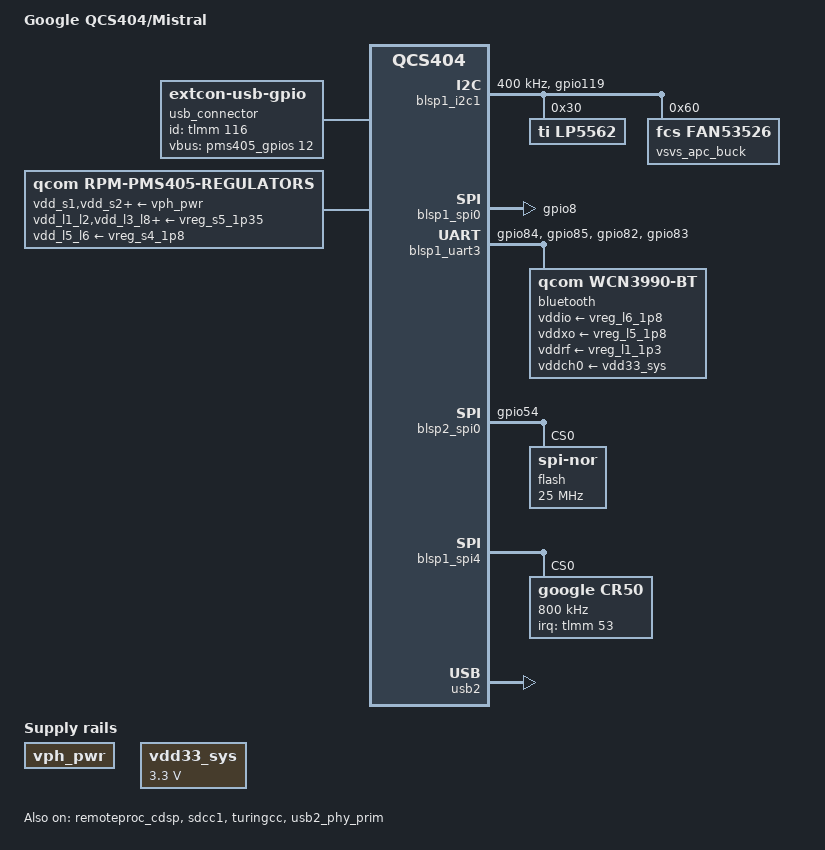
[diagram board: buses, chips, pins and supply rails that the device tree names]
// SPDX-License-Identifier: GPL-2.0
// Copyright (c) 2019, Linaro Limited

/dts-v1/;

#include "qcs404.dtsi"
#include "pms405.dtsi"
#include <dt-bindings/gpio/gpio.h>
#include <dt-bindings/pinctrl/qcom,pmic-gpio.h>

/ {
	model = "Google QCS404/Mistral";
	compatible = "google,mistral", "qcom,qcs404";

	aliases {
		serial0 = &blsp1_uart2;
		serial1 = &blsp1_uart3;
		wifi0 = &wifi;
	};

	chosen {
		stdout-path = "serial0";
	};

	vph_pwr: vph-pwr-regulator {
		compatible = "regulator-fixed";
		regulator-name = "vph_pwr";
		regulator-always-on;
		regulator-boot-on;
	};

	usb_connector: usb-connector {
		compatible = "linux,extcon-usb-gpio";
		id-gpio = <&tlmm 116 GPIO_ACTIVE_HIGH>;
		vbus-gpio = <&pms405_gpios 12 GPIO_ACTIVE_HIGH>;
		pinctrl-names = "default";
		pinctrl-0 = <&usb0_hs_id>, <&usb_vbus_det>;
	};

	vdd33_sys: vdd33-regulator {
		compatible = "regulator-fixed";
		regulator-name = "VDD33_SYS";

		regulator-min-microvolt = <3300000>;
		regulator-max-microvolt = <3300000>;
		regulator-always-on;
	};
};

&blsp1_dma {
	/delete-property/ qcom,controlled-remotely;
};

&blsp2_dma {
	/delete-property/ qcom,controlled-remotely;
};

&blsp1_i2c1 {
	status = "okay";
	clock-frequency = <400000>;
	pinctrl-0 = <&led_lp5562_enable>, <&blsp1_i2c1_default>;

	lp5562@30 {
		compatible = "ti,lp5562";
		reg = <0x30>;
		clock-mode = [01];

		chan0 {
			chan-name = "LED0_Blue";
			led-cur = [64];
			max-cur = [78];
		};

		chan1 {
			chan-name = "LED0_Green";
			led-cur = [64];
			max-cur = [78];
		};

		chan2 {
			chan-name = "LED0_Red";
			led-cur = [64];
			max-cur = [78];
		};
	};

	vsvs_apc_buck: fan53526@60 {
		compatible = "fcs,fan53526";
		reg = <0x60>;
		regulator-min-microvolt = <1048000>;
		regulator-max-microvolt = <1356250>;
		regulator-ramp-delay = <500>;
		regulator-always-on;
		fcs,suspend-voltage-selector = <1>;
		pinctrl-names = "default";
		pinctrl-0 = <&apps_buck_en>, <&apps_mode_sel>;
	};
};

&blsp1_spi0 {
	status = "okay";
	pinctrl-0 = <&blsp1_spi0_default &pms405_sleepclk2_pin>;
};

&blsp1_uart2_default {
	rx {
		drive-strength = <2>;
		bias-disable;
	};

	tx {
		drive-strength = <2>;
		bias-disable;
	};
};

&blsp1_uart3 {
	pinctrl-names = "default";
	pinctrl-0 = <&blsp1_uart3_default>;
	status = "okay";

	bluetooth {
		compatible = "qcom,wcn3990-bt";
		vddio-supply = <&vreg_l6_1p8>;
		vddxo-supply = <&vreg_l5_1p8>;
		vddrf-supply = <&vreg_l1_1p3>;
		vddch0-supply = <&vdd33_sys>;

		local-bd-address = [ 02 00 00 00 5a ad ];

		max-speed = <3200000>;
	};
};

&blsp2_spi0 {
	status = "okay";
	pinctrl-0 = <&spi_flash_wp>, <&blsp2_spi0_default>;

	flash@0 {
		compatible = "jedec,spi-nor";
		reg = <0>;
		spi-max-frequency = <25000000>;
	};
};

&blsp1_spi4 {
	status = "okay";
	spi-max-frequency = <800000>; /* TODO: Drop this */
	cr50@0 {
		compatible = "google,cr50";
		reg = <0>;
		pinctrl-names = "default";
		pinctrl-0 = <&h1_ap_int_odl>;
		spi-max-frequency = <800000>;
		interrupt-parent = <&tlmm>;
		interrupts = <53 IRQ_TYPE_EDGE_RISING>;
	};
};

&pms405_gpios {
	usb_vbus_det: usb-vbus-det {
		pinconf {
			pins = "gpio12";
			function = PMIC_GPIO_FUNC_NORMAL;
			input-enable;
			bias-pull-down;
			power-source = <1>;
		};
	};

	pms405_sleepclk2_pin: pms405_sleepclk2_pin {
		pinconf {
			pins = "gpio8";
			function = PMIC_GPIO_FUNC_FUNC1;
			qcom,drive-strength = <2>;
			power-source = <0>;
			bias-disable;
			output-low;
		};
	};

	apps_buck_en: apps-buck-en {
		pins = "gpio6";
		function = "normal";
		output-high;
	};

	apps_mode_sel: apps-mode-sel {
		pins = "gpio6";
		function = "normal";
		output-low;
	};
};

&remoteproc_cdsp {
	compatible = "qcom,qcs404-cdsp-pil";
	status = "okay";
};

&rpm_requests {
	pms405-regulators {
		compatible = "qcom,rpm-pms405-regulators";

		vdd_s1-supply = <&vph_pwr>;
		vdd_s2-supply = <&vph_pwr>;
		vdd_s3-supply = <&vph_pwr>;
		vdd_s4-supply = <&vph_pwr>;
		vdd_s5-supply = <&vph_pwr>;
		vdd_l1_l2-supply = <&vreg_s5_1p35>;
		vdd_l3_l8-supply = <&vreg_s5_1p35>;
		vdd_l4-supply = <&vreg_s5_1p35>;
		vdd_l5_l6-supply = <&vreg_s4_1p8>;
		vdd_l7-supply = <&vph_pwr>;
		vdd_l9-supply = <&vreg_s5_1p35>;
		vdd_l10_l11_l12_l13-supply = <&vph_pwr>;

		vreg_s4_1p8: s4 {
			regulator-min-microvolt = <1728000>;
			regulator-max-microvolt = <1920000>;
		};

		vreg_s5_1p35: s5 {
			regulator-min-microvolt = <1352000>;
			regulator-max-microvolt = <1352000>;
		};

		vreg_l1_1p3: l1 {
			regulator-min-microvolt = <1240000>;
			regulator-max-microvolt = <1352000>;
		};

		vreg_l2_1p275: l2 {
			regulator-min-microvolt = <1048000>;
			regulator-max-microvolt = <1280000>;
		};

		vreg_l3_1p05: l3 {
			regulator-min-microvolt = <1048000>;
			regulator-max-microvolt = <1160000>;
		};

		vreg_l4_1p2: l4 {
			regulator-min-microvolt = <1144000>;
			regulator-max-microvolt = <1256000>;
		};

		vreg_l5_1p8: l5 {
			regulator-min-microvolt = <1800000>;
			regulator-max-microvolt = <1800000>;
		};

		vreg_l6_1p8: l6 {
			regulator-min-microvolt = <1800000>;
			regulator-max-microvolt = <1800000>;
		};

		vreg_l7_1p8: l7 {
			regulator-min-microvolt = <1616000>;
			regulator-max-microvolt = <3000000>;
			regulator-always-on;
		};

		vreg_l8_1p2: l8 {
			regulator-min-microvolt = <1136000>;
			regulator-max-microvolt = <1352000>;
		};

		vreg_l10_3p3: l10 {
			regulator-min-microvolt = <2936000>;
			regulator-max-microvolt = <3088000>;
		};

		vreg_l11_sdc2: l11 {
			regulator-min-microvolt = <2696000>;
			regulator-max-microvolt = <3304000>;
		};

		vreg_l12_3p3: l12 {
			regulator-min-microvolt = <2968000>;
			regulator-max-microvolt = <3300000>;
		};

		vreg_l13_3p3: l13 {
			regulator-min-microvolt = <3000000>;
			regulator-max-microvolt = <3300000>;
		};
	};
};

&tlmm {
	/* Add required gpio names to use gpio hog mechanism */
	gpio-line-names = "", "", "", "", "", "", "", "", "", "",
	                  "", "", "", "", "", "", "", "", "", "",
	                  "", "", "", "", "", "", "", "", "", "",
	                  "", "", "", "", "", "", "", "", "", "",
	                  "", "", "", "", "", "", "", "", "", "",
	                  "", "", "", "", "AP_FLASH_WP_L", "", "", "", "", "",
	                  "", "", "", "", "", "", "", "", "", "",
	                  "", "", "", "", "", "", "", "RECOVERY_SW_L", "", "",
	                  "", "", "", "", "", "", "", "", "", "",
	                  "", "", "", "", "", "", "", "", "", "",
	                  "", "", "", "", "", "", "", "", "", "",
	                  "", "", "", "", "", "", "", "", "", "";

	blsp1_uart3_default: blsp1-uart3-default {
		drive-strength = <2>;
		bias-disable;
	};

	sdc1_on: sdc1-on {
		clk {
			pins = "sdc1_clk";
			bias-disable;
			drive-strength = <16>;
		};

		cmd {
			pins = "sdc1_cmd";
			bias-pull-up;
			drive-strength = <10>;
		};

		data {
			pins = "sdc1_data";
			bias-pull-up;
			dreive-strength = <10>;
		};

		rclk {
			pins = "sdc1_rclk";
			bias-pull-down;
		};
	};

	sdc1_off: sdc1-off {
		clk {
			pins = "sdc1_clk";
			bias-disable;
			drive-strength = <2>;
		};

		cmd {
			pins = "sdc1_cmd";
			bias-pull-up;
			drive-strength = <2>;
		};

		data {
			pins = "sdc1_data";
			bias-pull-up;
			dreive-strength = <2>;
		};

		rclk {
			pins = "sdc1_rclk";
			bias-pull-down;
		};
	};

	led_lp5562_enable: led-lp5562-enable {
		pins = "gpio119";
		function = "gpio";

		bias-pull-up;
		drive-strength = <2>;
		output-high;
	};

        h1_ap_int_odl: h1-ap-int-odl {
                pinmux {
                        pins = "gpio53";
                        function = "gpio";
                        input-enable;
                };
                pinconf {
                        pins = "gpio53";
                        bias-pull-up;
                };
        };

	spi_flash_wp: spi-flash-wp {
		pins = "gpio54";
		function = "gpio";
		bias-disable;
		bias-no-pull;
		drive-strength = <2>;
		input-enable;
	};

	usb0_hs_id: usb0-hs-id {
		pinmux {
			pins = "gpio116";
			function = "gpio";
		};

		pinconf {
			pins = "gpio116";
			drive-strength = <2>;
			bias-pull-up;
			input-enable;
		};
	};
};

&sdcc1 {
	status = "ok";

	mmc-ddr-1_8v;
	mmc-hs200-1_8v;
	mmc-hs400-1_8v;
	mmc-hs400-enhanced-strobe;
	bus-width = <8>;
	non-removable;

	pinctrl-names = "default", "sleep";
	pinctrl-0 = <&sdc1_on>;
	pinctrl-1 = <&sdc1_off>;
};

&turingcc {
	status = "okay";
};

&usb2 {
	status = "okay";

	dwc3@78c0000 {
		extcon = <&usb_connector>;
		dr_mode = "otg";
	};
};

&usb2_phy_prim {
	vdd-supply = <&vreg_l4_1p2>;
	vdda1p8-supply = <&vreg_l5_1p8>;
	vdda3p3-supply = <&vreg_l12_3p3>;
	qcom,vdd-voltage-level = <0 1144000 1200000>;
	status = "okay";
};

/* PINCTRL - additions to nodes defined in qcs404.dtsi */

&blsp1_uart3_default {
	cts {
		pins = "gpio84";
		bias-disable;
	};

	rts-tx {
		pins = "gpio85", "gpio82";
		drive-strength = <2>;
		bias-disable;
	};

	rx {
		pins = "gpio83";
		bias-pull-up;
	};
};
